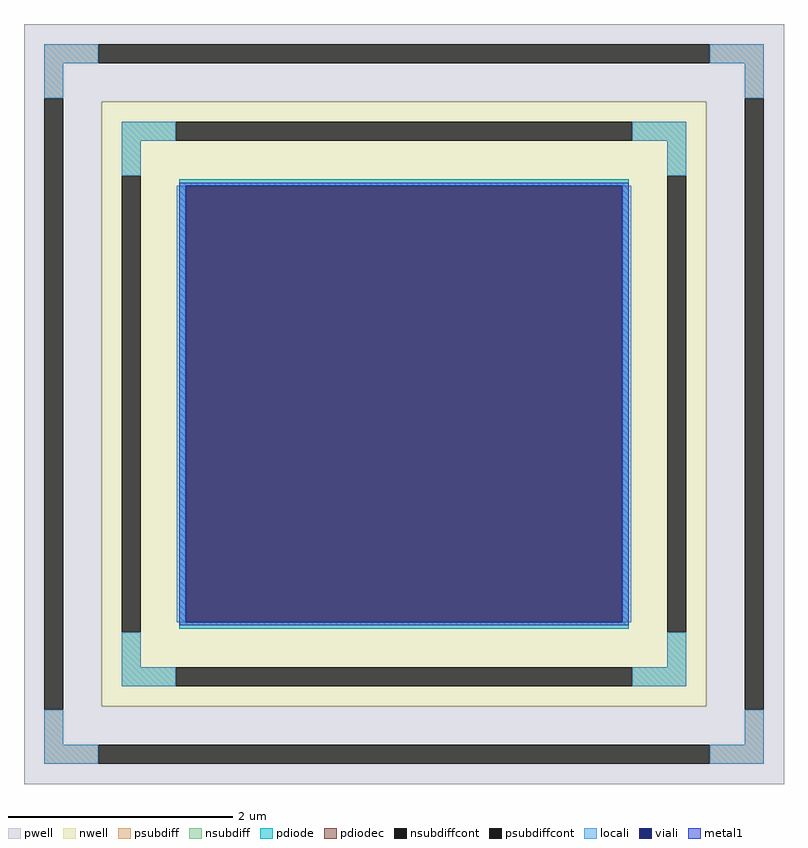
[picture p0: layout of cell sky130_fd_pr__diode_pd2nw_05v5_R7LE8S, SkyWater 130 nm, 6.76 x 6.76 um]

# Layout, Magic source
magic
tech sky130A
<< nwell >>
rect -269 -269 269 269
<< pwell >>
rect -338 269 338 338
rect -338 -269 -269 269
rect 269 -269 338 269
rect -338 -338 338 -269
<< psubdiff >>
rect -320 303 -272 320
rect 272 303 320 320
rect -320 272 -303 303
rect 303 272 320 303
rect -320 -303 -303 -272
rect 303 -303 320 -272
rect -320 -320 -272 -303
rect 272 -320 320 -303
<< nsubdiff >>
rect -251 234 -203 251
rect 203 234 251 251
rect -251 203 -234 234
rect 234 203 251 234
rect -251 -234 -234 -203
rect 234 -234 251 -203
rect -251 -251 -203 -234
rect 203 -251 251 -234
<< psubdiffcont >>
rect -272 303 272 320
rect -320 -272 -303 272
rect 303 -272 320 272
rect -272 -320 272 -303
<< nsubdiffcont >>
rect -203 234 203 251
rect -251 -203 -234 203
rect 234 -203 251 203
rect -203 -251 203 -234
<< pdiode >>
rect -200 194 200 200
rect -200 -194 -194 194
rect 194 -194 200 194
rect -200 -200 200 -194
<< pdiodec >>
rect -194 -194 194 194
<< locali >>
rect -320 303 -272 320
rect 272 303 320 320
rect -320 272 -303 303
rect 303 272 320 303
rect -251 234 -203 251
rect 203 234 251 251
rect -251 203 -234 234
rect 234 203 251 234
rect -202 -194 -194 194
rect 194 -194 202 194
rect -251 -234 -234 -203
rect 234 -234 251 -203
rect -251 -251 -203 -234
rect 203 -251 251 -234
rect -320 -303 -303 -272
rect 303 -303 320 -272
rect -320 -320 -272 -303
rect 272 -320 320 -303
<< viali >>
rect -194 -194 194 194
<< metal1 >>
rect -200 194 200 197
rect -200 -194 -194 194
rect 194 -194 200 194
rect -200 -197 200 -194
<< properties >>
string gencell sky130_fd_pr__diode_pd2nw_05v5
string FIXED_BBOX -242 -242 242 242
string parameters w 4 l 4 area 16.0 peri 16.0 nx 1 ny 1 dummy 0 lmin 0.45 wmin 0.45 elc 1 erc 1 etc 1 ebc 1 glc 1 grc 1 gtc 1 gbc 1 doverlap 0 compatible {sky130_fd_pr__diode_pd2nw_05v5 sky130_fd_pr__diode_pd2nw_05v5_lvt  sky130_fd_pr__diode_pd2nw_05v5_hvt sky130_fd_pr__diode_pd2nw_11v0} full_metal 1 vias 1 viagb 0 viagt 0 viagl 0 viagr 0
string library sky130
<< end >>
